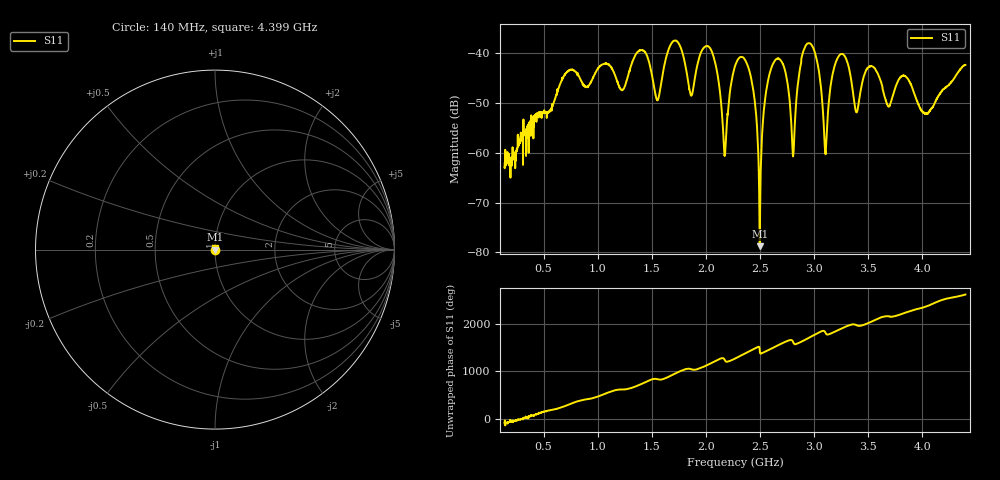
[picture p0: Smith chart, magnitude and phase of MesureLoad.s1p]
! 140 4400 1
# MHz S MA R 50.0
!freq ReS11 ImS11
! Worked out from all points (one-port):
!   4260 points, 140 MHz to 4.399 GHz, reference 50 ohm
!   lowest |S11| = -78.7 dB at 2.498 GHz (marker M1), VSWR 1.00, Z = 50 + j0.00167 ohm
!   |S11| at or under -10 dB: start of sweep to end of sweep
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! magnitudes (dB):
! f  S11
! 140 MHz  -62.9
! 673 MHz  -45.2
! 1.08 GHz  -42.1
! 1.205 GHz  -47.0
! 1.412 GHz  -39.4
! 1.555 GHz  -49.4
! 1.738 GHz  -37.7
! 1.864 GHz  -48.5
! 2.049 GHz  -39.3
! 2.174 GHz  -60.4
! 2.27 GHz  -42.6
! 2.412 GHz  -44.4
! 2.498 GHz  -78.7
! 2.556 GHz  -47.9
! 2.643 GHz  -41.3
! 2.737 GHz  -43.9
! 2.802 GHz  -59.6
! 2.933 GHz  -38.2
! 3.029 GHz  -41.7
! 3.105 GHz  -60.0
! 3.209 GHz  -41.4
! 3.335 GHz  -44.3
! 3.393 GHz  -51.9
! 3.511 GHz  -42.7
! 3.687 GHz  -50.7
! 3.867 GHz  -45.1
! 4.042 GHz  -52.1
! 4.399 GHz  -42.3
